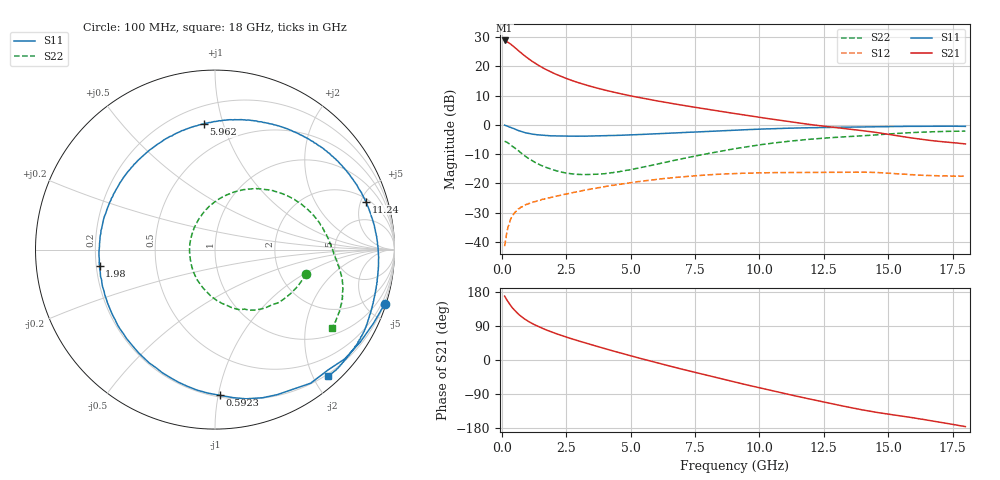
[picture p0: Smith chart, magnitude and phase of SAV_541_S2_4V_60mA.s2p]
! Data provided by Modelithics, Inc.  Tampa, Florida USA, June 2008
!Model SAV-541+
!VAR V_out= 4
!VAR I_out= 60
!VAR V_in= 0.4469
!VAR I_in= 0.9720
!BEGIN ACDATA
# GHZ S MA R 50
! Scattering Parameters
!% F n11x n11y n21x n21y n12x n12y n22x n22y
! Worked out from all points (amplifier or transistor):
!   401 points, 100 MHz to 18 GHz, reference 50 ohm
!   highest |S21| = 28.9 dB at 100 MHz (marker M1)
!   |S21| within 3 dB of that: start of sweep to 571.7 MHz
!   unconditionally stable (mu >= 1): 3.712 GHz to 9.852 GHz; 9.874 GHz to 9.992 GHz; 10.06642 GHz to 10.08723 GHz
!   at 3.054 GHz: K = 0.94, MSG = 18.4 dB, |S12| = -22.6 dB
!   at 9.05 GHz: K = 1.03, MAG = 9.2 dB, |S12| = -16.6 dB
!   at 18 GHz: K = 0.89, MSG = 5.5 dB, |S12| = -17.5 dB
!   lowest NFmin = 0.09 dB at 500 MHz
!   S11 on the Smith chart (normalised r, x): 100 MHz: 0.16, -6.35; 592.2 MHz: 0.21, -1.01; 1.98 GHz: 0.21, -0.07; 5.962 GHz: 0.31, +0.87; 11.24 GHz: 2.29, +5.50; 18 GHz: 0.17, -2.22
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0.1  0.9924 -17.9  27.86 168.5  0.00845 83.7  0.5257 -14.7
0.1895  0.9595 -32.5  26.37 158.3  0.0148 75.2  0.5055 -23.4
0.279  0.9201 -46.7  24.98 149.0  0.02 67.7  0.4764 -34.1
0.3685  0.8918 -60.7  23.47 140.6  0.02629 61.5  0.4421 -44.1
0.458  0.867 -72.2  21.77 133.6  0.03012 54.0  0.4171 -52.6
0.59225  0.812 -88.1  19.34 124.0  0.03438 50.1  0.3697 -63.7
0.7265  0.7764 -101.6  17.25 116.0  0.0392 45.8  0.3353 -74.2
0.86075  0.746 -113.2  15.43 109.1  0.04171 42.5  0.3009 -83.0
1.12925  0.7026 -132.1  12.61 97.8  0.04705 37.3  0.2502 -97.8
1.48725  0.6705 -151.7  10.03 85.9  0.05171 33.6  0.2066 -114.4
1.9795  0.6497 -171.9  7.754 72.5  0.05879 29.9  0.1706 -135.1
2.47175  0.6423 172.0  6.292 61.0  0.06558 26.8  0.1512 -153.4
3.09825  0.6421 154.7  5.066 47.8  0.07491 22.4  0.1418 -175.3
4.396  0.6614 125.0  3.586 22.4  0.09385 11.5  0.1558 145.1
5.96225  0.703 95.0  2.608 -6.3  0.1163 -4.6  0.2111 109.1
6.0965  0.7085 92.8  2.548 -8.5  0.1184 -5.9  0.2174 106.8
7.439  0.7545 70.8  2.023 -31.8  0.1343 -20.9  0.2898 83.6
9.05  0.8124 47.1  1.563 -58.2  0.1473 -39.7  0.3926 59.4
11.24275  0.8817 17.7  1.123 -92.5  0.154 -65.7  0.5307 30.4
12.04825  0.8977 7.8  1.008 -104.3  0.1545 -75.1  0.5735 21.0
15.0465  0.9364 -23.3  0.6872 -143.3  0.1494 -105.8  0.7016 -8.9
18  0.945 -48.3  0.473 -175.7  0.1329 -131.0  0.7842 -33.7
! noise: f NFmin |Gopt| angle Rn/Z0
0.5  0.086  0.3442  26.43  0.056
0.7  0.121  0.3427  37.91  0.05
0.9  0.156  0.3419  49.17  0.045
1  0.173  0.3417  54.72  0.043
1.9  0.331  0.3474  102.2  0.031
2.4  0.419  0.3562  126.6  0.031
3  0.524  0.372  154.2  0.038
3.9  0.682  0.4065  -168.2  0.063
5  0.875  0.4663  -128.2  0.115
6  1.051  0.5375  -97.65  0.183
